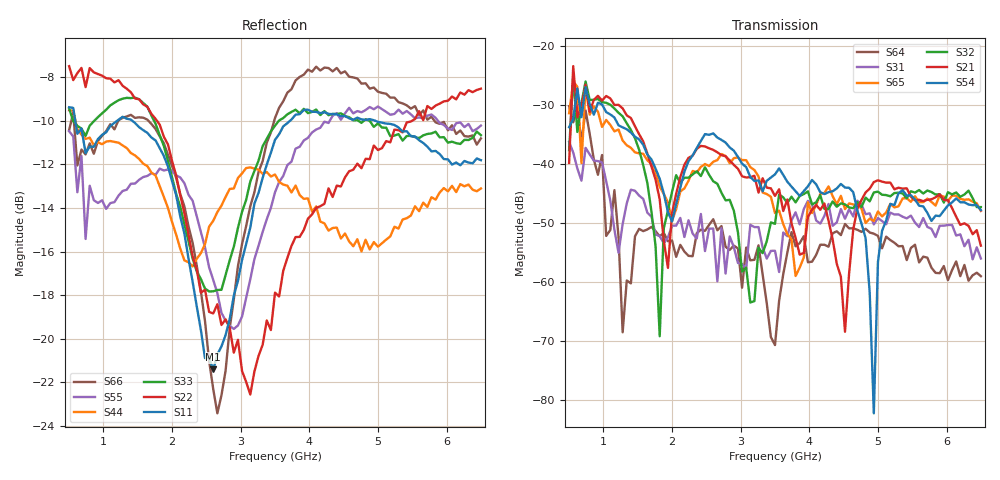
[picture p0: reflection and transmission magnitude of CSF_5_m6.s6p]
!Keysight Technologies,M9804A,MY58100912,A.14.10.03
!Date: Thursday, April 27, 2023 10:28:33
!Correction: S11(C  6-Port  )
!S12(C  6-Port  )
!S13(C  6-Port  )
!S14(C  6-Port  )
!S15(C  6-Port  )
!S16(C  6-Port  )
!S21(C  6-Port  )
!S22(C  6-Port  )
!S23(C  6-Port  )
!S24(C  6-Port  )
!S25(C  6-Port  )
!S26(C  6-Port  )
!S31(C  6-Port  )
!S32(C  6-Port  )
!S33(C  6-Port  )
!S34(C  6-Port  )
!S35(C  6-Port  )
!S36(C  6-Port  )
!S41(C  6-Port  )
!S42(C  6-Port  )
!S43(C  6-Port  )
!S44(C  6-Port  )
!S45(C  6-Port  )
!S46(C  6-Port  )
!S51(C  6-Port  )
!S52(C  6-Port  )
!S53(C  6-Port  )
!S54(C  6-Port  )
!S55(C  6-Port  )
!S56(C  6-Port  )
!S61(C  6-Port  )
!S62(C  6-Port  )
!S63(C  6-Port  )
!S64(C  6-Port  )
!S65(C  6-Port  )
!S66(C  6-Port  )
!S6P File: Measurement: :
# Hz S  RI  R 50
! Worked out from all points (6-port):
!   101 points, 500 MHz to 6.5 GHz, reference 50 ohm
!   strongest paths, dB at 500 MHz, 2 GHz, 3.5 GHz, 5 GHz, 6.5 GHz:
!     S54: -33.7, -49.7, -41.7, -56.6, -47.8
!     S21: -39.8, -48.3, -45.4, -42.7, -53.8
!     S32: -37.6, -44.7, -50.1, -44.7, -47.3
!     S65: -31.4, -49.6, -48.3, -48.0, -48.0
!     S31: -36.2, -50.5, -54.7, -49.2, -56.0
!     S64: -30.2, -53.0, -70.7, -52.2, -59.0
!   lowest |S11| = -21.4 dB at 2.6 GHz (marker M1), VSWR 1.19, Z = 42.4 + j2.13 ohm
!   |S11| at or under -10 dB: 590.2 MHz to 1.197 GHz (606.5 MHz wide, 67.9 % of centre); 1.424 GHz to 3.716 GHz (2.292 GHz wide, 89.2 % of centre); 4.967 GHz to end of sweep
